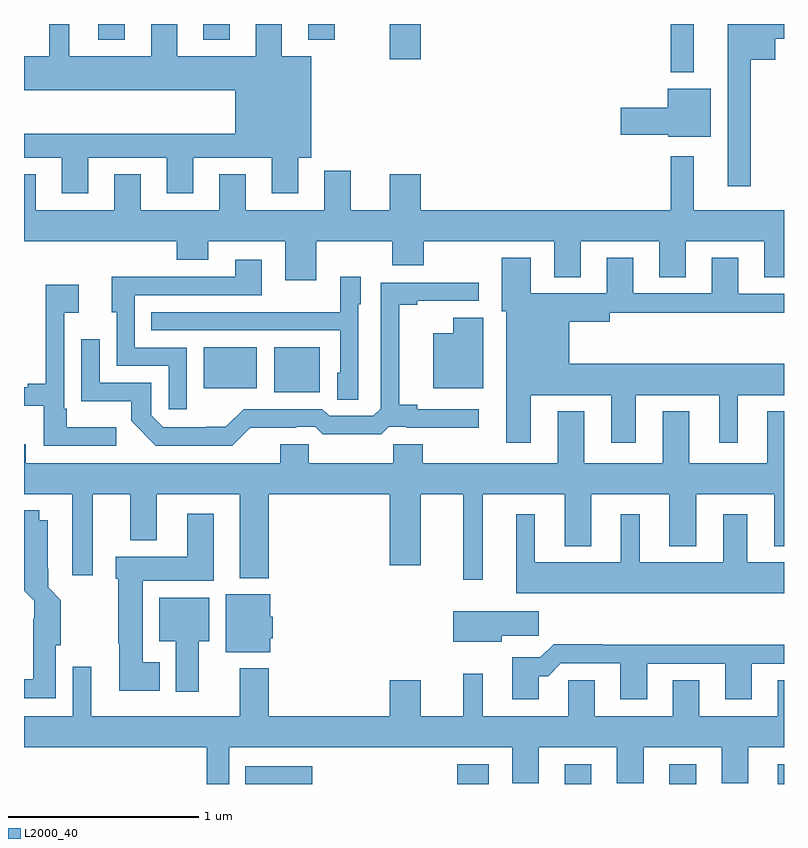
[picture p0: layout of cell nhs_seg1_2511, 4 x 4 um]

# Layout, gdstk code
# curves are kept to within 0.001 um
import gdstk
lib = gdstk.Library(unit=1e-6, precision=1e-09)
def R(c, l, rs):  # rectangles x0, y0, x1, y1
    for r in rs: c.add(gdstk.rectangle(r[:2], r[2:], *l))
def A(c, l, x, y, w, h, nx, ny, dx, dy):  # array of equal rectangles
    R(c, l, [(x+i*dx, y+j*dy, x+i*dx+w, y+j*dy+h) for i in range(nx) for j in range(ny)])
def P(c, l, *ps):  # polygons
    for p in ps: c.add(gdstk.Polygon(p, *l))
L2000_40 = (2000, 40)

nhs_seg1_2511 = lib.new_cell('nhs_seg1_2511')
A(nhs_seg1_2511, L2000_40, 247.391, 562.115, 0.14, 0.084, 3, 1, 0.552, 0)
R(nhs_seg1_2511, L2000_40, [(248.164,558.199,248.518,558.292), (249.281,558.199,249.445,558.304), (249.845,558.199,249.985,558.304), (250.397,558.199,250.537,558.304), (250.967,558.199,251,558.304), (248.318,560.261,248.557,560.497), (247.946,560.282,248.224,560.497), (250.404,561.944,250.525,562.199), (248.924,562.014,249.088,562.199)])
P(nhs_seg1_2511, L2000_40, [(250.825,562.01),(250.954,562.01),(250.954,562.121),(251,562.121),(251,562.199),(250.703,562.199),(250.703,561.345),(250.825,561.345)],
  [(247.339,561.494),(247.751,561.494),(247.751,561.309),(247.891,561.309),(247.891,561.494),(248.303,561.494),(248.303,561.309),(248.443,561.309),(248.443,561.494),(248.512,561.494),(248.512,562.03),(248.356,562.03),(248.356,562.199),(248.219,562.199),(248.219,562.03),(247.807,562.03),(247.807,562.199),(247.67,562.199),(247.67,562.03),(247.237,562.03),(247.237,562.199),(247.133,562.199),(247.133,562.03),(247,562.03),(247,561.851),(248.111,561.851),(248.111,561.622),(247,561.622),(247,561.494),(247.199,561.494),(247.199,561.309),(247.339,561.309)],
  [(250.615,561.859),(250.388,561.859),(250.388,561.758),(250.14,561.758),(250.14,561.616),(250.392,561.616),(250.392,561.605),(250.615,561.605)],
  [(248.924,561.22),(248.719,561.22),(248.719,561.427),(248.579,561.427),(248.579,561.22),(248.167,561.22),(248.167,561.409),(248.027,561.409),(248.027,561.22),(247.615,561.22),(247.615,561.409),(247.475,561.409),(247.475,561.22),(247.063,561.22),(247.063,561.409),(247,561.409),(247,561.056),(247.805,561.056),(247.805,560.957),(247.969,560.957),(247.969,561.056),(248.375,561.056),(248.375,560.85),(248.539,560.85),(248.539,561.056),(248.939,561.056),(248.939,560.928),(249.103,560.928),(249.103,561.056),(249.791,561.056),(249.791,560.867),(249.931,560.867),(249.931,561.056),(250.343,561.056),(250.343,560.866),(250.483,560.866),(250.483,561.056),(250.895,561.056),(250.895,560.866),(251,560.866),(251,561.22),(250.525,561.22),(250.525,561.502),(250.404,561.502),(250.404,561.22),(249.088,561.22),(249.088,561.409),(248.924,561.409)],
  [(249.667,560.246),(250.091,560.246),(250.091,559.995),(250.219,559.995),(250.219,560.246),(250.658,560.246),(250.658,559.995),(250.756,559.995),(250.756,560.246),(251,560.246),(251,560.41),(249.871,560.41),(249.871,560.633),(250.084,560.633),(250.084,560.68),(250.855,560.68),(250.855,560.678),(251,560.678),(251,560.778),(250.759,560.778),(250.759,560.968),(250.619,560.968),(250.619,560.781),(250.207,560.781),(250.207,560.968),(250.067,560.968),(250.067,560.782),(249.667,560.782),(249.667,560.968),(249.515,560.968),(249.515,560.688),(249.539,560.688),(249.539,559.995),(249.667,559.995)],
  [(247.857,560.496),(247.584,560.496),(247.584,560.772),(248.251,560.772),(248.251,560.959),(248.111,560.959),(248.111,560.868),(247.681,560.868),(247.681,560.87),(247.463,560.87),(247.463,560.682),(247.488,560.682),(247.488,560.4),(247.761,560.4),(247.761,560.172),(247.857,560.172)],
  [(248.76,560.724),(248.773,560.724),(248.773,560.869),(248.664,560.869),(248.664,560.683),(248.347,560.683),(248.347,560.682),(247.669,560.682),(247.669,560.586),(248.664,560.586),(248.664,560.364),(248.648,560.364),(248.648,560.221),(248.76,560.221)],
  [(248.192,560.075),(248.432,560.075),(248.432,560.079),(248.532,560.079),(248.572,560.04),(248.879,560.04),(248.919,560.079),(249.013,560.079),(249.013,560.075),(249.394,560.075),(249.394,560.172),(249.07,560.172),(249.07,560.195),(248.975,560.195),(248.975,560.722),(249.07,560.722),(249.07,560.742),(249.394,560.742),(249.394,560.838),(248.877,560.838),(248.877,560.175),(248.838,560.136),(248.607,560.136),(248.571,560.172),(248.157,560.172),(248.063,560.078),(247.958,560.078),(247.958,560.076),(247.734,560.076),(247.671,560.139),(247.671,560.31),(247.398,560.31),(247.398,560.539),(247.302,560.539),(247.302,560.213),(247.564,560.213),(247.564,560.111),(247.694,559.98),(248.097,559.98)],
  [(247.486,560.077),(247.225,560.077),(247.225,560.173),(247.212,560.173),(247.212,560.678),(247.288,560.678),(247.288,560.827),(247.115,560.827),(247.115,560.305),(247.019,560.305),(247.019,560.286),(247,560.286),(247,560.189),(247.104,560.189),(247.104,559.98),(247.486,559.98)],
  [(249.418,560.653),(249.26,560.653),(249.26,560.572),(249.155,560.572),(249.155,560.282),(249.418,560.282)],
  [(249.415,559.724),(249.845,559.724),(249.845,559.451),(249.985,559.451),(249.985,559.724),(250.397,559.724),(250.397,559.451),(250.537,559.451),(250.537,559.724),(250.949,559.724),(250.949,559.451),(251,559.451),(251,560.161),(250.913,560.161),(250.913,559.888),(250.501,559.888),(250.501,560.161),(250.361,560.161),(250.361,559.888),(249.949,559.888),(249.949,560.161),(249.809,560.161),(249.809,559.888),(249.099,559.888),(249.099,559.986),(248.944,559.986),(248.944,559.888),(248.499,559.888),(248.499,559.986),(248.348,559.986),(248.348,559.888),(247.009,559.888),(247.009,559.987),(247,559.987),(247,559.724),(247.253,559.724),(247.253,559.299),(247.363,559.299),(247.363,559.724),(247.559,559.724),(247.559,559.481),(247.699,559.481),(247.699,559.724),(248.135,559.724),(248.135,559.283),(248.288,559.283),(248.288,559.724),(248.924,559.724),(248.924,559.35),(249.088,559.35),(249.088,559.724),(249.311,559.724),(249.311,559.275),(249.415,559.275)],
  [(247.168,558.93),(247.194,558.93),(247.194,559.167),(247.127,559.234),(247.126,559.588),(247.081,559.588),(247.081,559.639),(247,559.639),(247,559.217),(247.053,559.164),(247.053,559.07),(247.049,559.07),(247.049,558.751),(247,558.751),(247,558.65),(247.168,558.65)],
  [(247.714,558.841),(247.624,558.841),(247.624,559.268),(247.999,559.268),(247.999,559.621),(247.859,559.621),(247.859,559.396),(247.484,559.396),(247.484,559.278),(247.495,559.278),(247.495,558.937),(247.502,558.937),(247.502,558.689),(247.714,558.689)],
  [(251,559.366),(250.807,559.366),(250.807,559.618),(250.679,559.618),(250.679,559.366),(250.24,559.366),(250.24,559.618),(250.142,559.618),(250.142,559.366),(249.688,559.366),(249.688,559.618),(249.59,559.618),(249.59,559.202),(251,559.202)],
  [(248.296,558.966),(248.308,558.966),(248.308,559.08),(248.296,559.08),(248.296,559.198),(248.063,559.198),(248.063,558.893),(248.296,558.893)],
  [(247.921,558.95),(247.975,558.95),(247.975,559.18),(247.712,559.18),(247.712,558.95),(247.799,558.95),(247.799,558.684),(247.921,558.684)],
  [(249.514,558.979),(249.709,558.979),(249.709,559.108),(249.26,559.108),(249.26,558.947),(249.514,558.947)],
  [(249.709,558.767),(249.758,558.767),(249.825,558.834),(250.139,558.834),(250.139,558.645),(250.279,558.645),(250.279,558.831),(250.691,558.831),(250.691,558.645),(250.831,558.645),(250.831,558.831),(251,558.831),(251,558.932),(250.043,558.932),(250.043,558.935),(249.788,558.935),(249.718,558.865),(249.569,558.865),(249.569,558.645),(249.709,558.645)],
  [(250.673,558.202),(250.812,558.202),(250.812,558.392),(251,558.392),(251,558.746),(250.967,558.746),(250.967,558.556),(250.555,558.556),(250.555,558.746),(250.415,558.746),(250.415,558.556),(250.003,558.556),(250.003,558.746),(249.864,558.746),(249.864,558.556),(249.415,558.556),(249.415,558.778),(249.311,558.778),(249.311,558.556),(249.088,558.556),(249.088,558.745),(248.924,558.745),(248.924,558.556),(248.288,558.556),(248.288,558.808),(248.135,558.808),(248.135,558.556),(247.354,558.556),(247.354,558.817),(247.257,558.817),(247.257,558.556),(247,558.556),(247,558.392),(247.963,558.392),(247.963,558.199),(248.079,558.199),(248.079,558.392),(249.569,558.392),(249.569,558.202),(249.709,558.202),(249.709,558.392),(250.121,558.392),(250.121,558.203),(250.261,558.203),(250.261,558.392),(250.673,558.392)])

lib.write_gds('nhs_seg1_2511.gds')
